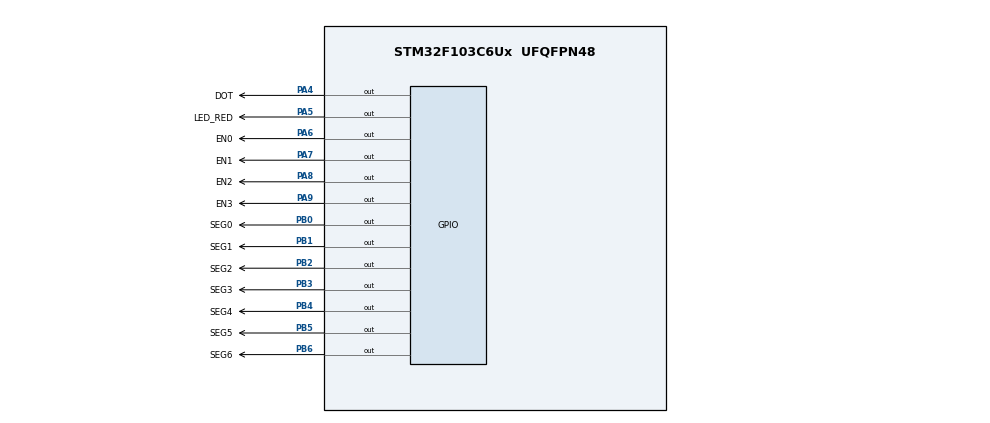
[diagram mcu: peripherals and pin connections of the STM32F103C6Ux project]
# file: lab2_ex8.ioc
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Mcu.Family=STM32F1
Mcu.Name=STM32F103C6Ux
Mcu.Package=UFQFPN48
NVIC.PriorityGroup=NVIC_PRIORITYGROUP_4
NVIC.TIM2_IRQn=true\:0\:0\:false\:false\:true\:true\:true
PA4.GPIO_Label=DOT
PA4.Signal=GPIO_Output
PA5.GPIO_Label=LED_RED
PA5.Signal=GPIO_Output
PA6.GPIO_Label=EN0
PA6.Signal=GPIO_Output
PA7.GPIO_Label=EN1
PA7.Signal=GPIO_Output
PA8.GPIO_Label=EN2
PA8.Signal=GPIO_Output
PA9.GPIO_Label=EN3
PA9.Signal=GPIO_Output
PB0.GPIO_Label=SEG0
PB0.Signal=GPIO_Output
PB1.GPIO_Label=SEG1
PB1.Signal=GPIO_Output
PB2.GPIO_Label=SEG2
PB2.Signal=GPIO_Output
PB3.GPIO_Label=SEG3
PB3.Signal=GPIO_Output
PB4.GPIO_Label=SEG4
PB4.Signal=GPIO_Output
PB5.GPIO_Label=SEG5
PB5.Signal=GPIO_Output
PB6.GPIO_Label=SEG6
PB6.Signal=GPIO_Output
ProjectManager.HeapSize=0x200
ProjectManager.StackSize=0x400
ProjectManager.TargetToolchain=STM32CubeIDE
RCC.APB1Freq_Value=8000000
RCC.APB2Freq_Value=8000000
TIM2.Period=9
TIM2.Prescaler=7999
VP_SYS_VS_ND.Mode=No_Debug
VP_TIM2_VS_ClockSourceINT.Mode=Internal
board=custom

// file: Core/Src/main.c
/* USER CODE BEGIN Header */
/**
  ******************************************************************************
  * @file           : main.c
  * @brief          : Main program body
  ******************************************************************************
  * @attention
  *
  * <h2><center>&copy; Copyright (c) 2023 STMicroelectronics.
  * All rights reserved.</center></h2>
  *
  * This software component is licensed by ST under BSD 3-Clause license,
  * the "License"; You may not use this file except in compliance with the
  * License. You may obtain a copy of the License at:
  *                        opensource.org/licenses/BSD-3-Clause
  *
  ******************************************************************************
  */
/* USER CODE END Header */
#include "main.h"

TIM_HandleTypeDef htim2;

void SystemClock_Config(void);
static void MX_GPIO_Init(void);
static void MX_TIM2_Init(void);

/* USER CODE BEGIN 0 */
// display led 7 segment
void display7SEG(int num){
	  HAL_GPIO_WritePin(SEG0_GPIO_Port, SEG0_Pin, RESET);
	  HAL_GPIO_WritePin(SEG1_GPIO_Port, SEG1_Pin, RESET);
	  HAL_GPIO_WritePin(SEG2_GPIO_Port, SEG2_Pin, RESET);
	  HAL_GPIO_WritePin(SEG3_GPIO_Port, SEG3_Pin, RESET);
	  HAL_GPIO_WritePin(SEG4_GPIO_Port, SEG4_Pin, RESET);
	  HAL_GPIO_WritePin(SEG5_GPIO_Port, SEG5_Pin, RESET);
	  HAL_GPIO_WritePin(SEG6_GPIO_Port, SEG6_Pin, RESET);
	  switch(num){
		  case 0:
			  HAL_GPIO_WritePin(SEG6_GPIO_Port, SEG6_Pin, SET);
			  break;
		  case 1:
			  HAL_GPIO_WritePin(SEG0_GPIO_Port, SEG0_Pin, SET);
			  HAL_GPIO_WritePin(SEG3_GPIO_Port, SEG3_Pin, SET);
			  HAL_GPIO_WritePin(SEG4_GPIO_Port, SEG4_Pin, SET);
			  HAL_GPIO_WritePin(SEG5_GPIO_Port, SEG5_Pin, SET);
			  HAL_GPIO_WritePin(SEG6_GPIO_Port, SEG6_Pin, SET);
			  break;
		  case 2:
			  HAL_GPIO_WritePin(SEG2_GPIO_Port, SEG2_Pin, SET);
			  HAL_GPIO_WritePin(SEG5_GPIO_Port, SEG5_Pin, SET);
			  break;
		  case 3:
			  HAL_GPIO_WritePin(SEG4_GPIO_Port, SEG4_Pin, SET);
			  HAL_GPIO_WritePin(SEG5_GPIO_Port, SEG5_Pin, SET);
			  break;
		  case 4:
			  HAL_GPIO_WritePin(SEG0_GPIO_Port, SEG0_Pin, SET);
			  HAL_GPIO_WritePin(SEG3_GPIO_Port, SEG3_Pin, SET);
			  HAL_GPIO_WritePin(SEG4_GPIO_Port, SEG4_Pin, SET);
			  break;
		  case 5:
			  HAL_GPIO_WritePin(SEG1_GPIO_Port, SEG1_Pin, SET);
			  HAL_GPIO_WritePin(SEG4_GPIO_Port, SEG4_Pin, SET);
			  break;
		  case 6:
			  HAL_GPIO_WritePin(SEG1_GPIO_Port, SEG1_Pin, SET);
			  break;
		  case 7:
			  HAL_GPIO_WritePin(SEG3_GPIO_Port, SEG3_Pin, SET);
			  HAL_GPIO_WritePin(SEG4_GPIO_Port, SEG4_Pin, SET);
			  HAL_GPIO_WritePin(SEG5_GPIO_Port, SEG5_Pin, SET);
			  HAL_GPIO_WritePin(SEG6_GPIO_Port, SEG6_Pin, SET);
			  break;
		  case 8:
			  break;
		  case 9:
			  HAL_GPIO_WritePin(SEG4_GPIO_Port, SEG4_Pin, SET);
			  break;
		  default:
			  break;
	  }
  }

const int MAX_LED = 4;
int index_led = 0;
int led_buffer[4] = {1 , 5 , 0 , 8};
int hour, minute, second;

void update7SEG (int index){
	HAL_GPIO_WritePin(EN0_GPIO_Port, EN0_Pin, 1);
	HAL_GPIO_WritePin(EN1_GPIO_Port, EN1_Pin, 1);
	HAL_GPIO_WritePin(EN2_GPIO_Port, EN2_Pin, 1);
	HAL_GPIO_WritePin(EN3_GPIO_Port, EN3_Pin, 1);
	switch (index){
		case 0:
			// Display the first 7 SEG with SEG1uffer [0]
			HAL_GPIO_WritePin(EN0_GPIO_Port, EN0_Pin, 0);
			display7SEG(led_buffer[0]);
			break ;
		case 1:
			// Display the second 7 SEG with SEG1uffer [1]
			HAL_GPIO_WritePin(EN1_GPIO_Port, EN1_Pin, 0);
			display7SEG(led_buffer[1]);
			break ;
		case 2:
			// Display the third 7 SEG with SEG1uffer [2]
			HAL_GPIO_WritePin(EN2_GPIO_Port, EN2_Pin, 0);
			display7SEG(led_buffer[2]);
			break ;
		case 3:
			// Display the forth 7 SEG with SEG1uffer [3]
			HAL_GPIO_WritePin(EN3_GPIO_Port, EN3_Pin, 0);
			display7SEG(led_buffer[3]);
			break ;
		default :
			break ;
	}
}

void updateClockBuffer(){
	if(hour < 10){
		led_buffer[0] = 0;
		led_buffer[1] = hour;
	}
	if(hour >= 10){
		led_buffer[0] = hour/10;
		led_buffer[1] = hour%10;
	}
	if(minute < 10){
		led_buffer[2] = 0;
		led_buffer[3] = minute;
	}
	if(minute >= 10){
		led_buffer[2] = minute/10;
		led_buffer[3] = minute%10;
	}
}

//software timer
// timer for LED_RED and DOT
int timer0_counter = 0;
int timer0_flag = 0;

//timer for update values for hour, minute and second
int timer1_counter = 0;
int timer1_flag = 0;

// timer for led 7 segment
int timer2_counter = 0;
int timer2_flag = 0;

int TIMER_CYCLE = 10;

//set timer for LED_RED and DOT
void setTimer0(int duration){
	timer0_counter = duration /TIMER_CYCLE;
	timer0_flag = 0;
}

//set timer for update values for hour, minute and second
void setTimer1(int duration){
	timer1_counter = duration /TIMER_CYCLE;
	timer1_flag = 0;
}

//set timer for led 7 segment
void setTimer2(int duration){
	timer2_counter = duration /TIMER_CYCLE;
	timer2_flag = 0;
}

void timer_run(){
	//counter for LED_RED and DOT
	if(timer0_counter > 0){
		timer0_counter--;
		if(timer0_counter == 0) timer0_flag = 1;
	}

	//counter for update values hour, minute, second
	if(timer1_counter > 0){
		timer1_counter--;
		if(timer1_counter == 0) timer1_flag = 1;
	}
	//counter for led 7 segment
	if(timer2_counter > 0){
		timer2_counter--;
		if(timer2_counter == 0) timer2_flag = 1;
	}
}
/* USER CODE END 0 */

int main(void)
{

  /* MCU Configuration--------------------------------------------------------*/

  /* Reset of all peripherals, Initializes the Flash interface and the Systick. */
  HAL_Init();

  /* Configure the system clock */
  SystemClock_Config();

  /* Initialize all configured peripherals */
  MX_GPIO_Init();
  MX_TIM2_Init();
  /* USER CODE BEGIN 2 */
  HAL_TIM_Base_Start_IT(&htim2);
  /* USER CODE END 2 */

  /* Infinite loop */
  /* USER CODE BEGIN WHILE */
  hour = 15;
  minute = 8;
  second = 50;
  setTimer0(1000);
  setTimer1(1000);
  setTimer2(250);
  while (1)
  {
	  //control LED_RED and DOT
	  if(timer0_flag == 1){
	      HAL_GPIO_TogglePin(LED_RED_GPIO_Port, LED_RED_Pin);
	      HAL_GPIO_TogglePin(DOT_GPIO_Port, DOT_Pin);
	      setTimer0(1000);
	  }
	  //control led 7 segment
	  if(timer2_flag == 1){
		  if(index_led >= MAX_LED){
			  index_led = 0;
		  }
		  update7SEG(index_led++);
		  setTimer2(250);
	  }
	  //control update values for hour, minute and second
	  if(timer1_flag == 1){
		  second++;
		  if(second >= 60){
			  second = 0;
			  minute++;
		  }
		  if(minute >= 60){
			  minute = 0;
			  hour++;
		  }
		  if(hour >= 24){
			  hour = 0;
		  }
		  updateClockBuffer();
		  setTimer1(1000);
	  }
    /* USER CODE END WHILE */

  }
}

void SystemClock_Config(void)
{
  RCC_OscInitTypeDef RCC_OscInitStruct = {0};
  RCC_ClkInitTypeDef RCC_ClkInitStruct = {0};

  /** Initializes the RCC Oscillators according to the specified parameters
  * in the RCC_OscInitTypeDef structure.
  */
  RCC_OscInitStruct.OscillatorType = RCC_OSCILLATORTYPE_HSI;
  RCC_OscInitStruct.HSIState = RCC_HSI_ON;
  RCC_OscInitStruct.HSICalibrationValue = RCC_HSICALIBRATION_DEFAULT;
  RCC_OscInitStruct.PLL.PLLState = RCC_PLL_NONE;
  if (HAL_RCC_OscConfig(&RCC_OscInitStruct) != HAL_OK)
  {
    Error_Handler();
  }
  /** Initializes the CPU, AHB and APB buses clocks
  */
  RCC_ClkInitStruct.ClockType = RCC_CLOCKTYPE_HCLK|RCC_CLOCKTYPE_SYSCLK
                              |RCC_CLOCKTYPE_PCLK1|RCC_CLOCKTYPE_PCLK2;
  RCC_ClkInitStruct.SYSCLKSource = RCC_SYSCLKSOURCE_HSI;
  RCC_ClkInitStruct.AHBCLKDivider = RCC_SYSCLK_DIV1;
  RCC_ClkInitStruct.APB1CLKDivider = RCC_HCLK_DIV1;
  RCC_ClkInitStruct.APB2CLKDivider = RCC_HCLK_DIV1;

  if (HAL_RCC_ClockConfig(&RCC_ClkInitStruct, FLASH_LATENCY_0) != HAL_OK)
  {
    Error_Handler();
  }
}

static void MX_TIM2_Init(void)
{

  TIM_ClockConfigTypeDef sClockSourceConfig = {0};
  TIM_MasterConfigTypeDef sMasterConfig = {0};

  htim2.Instance = TIM2;
  htim2.Init.Prescaler = 7999;
  htim2.Init.CounterMode = TIM_COUNTERMODE_UP;
  htim2.Init.Period = 9;
  htim2.Init.ClockDivision = TIM_CLOCKDIVISION_DIV1;
  htim2.Init.AutoReloadPreload = TIM_AUTORELOAD_PRELOAD_DISABLE;
  if (HAL_TIM_Base_Init(&htim2) != HAL_OK)
  {
    Error_Handler();
  }
  sClockSourceConfig.ClockSource = TIM_CLOCKSOURCE_INTERNAL;
  if (HAL_TIM_ConfigClockSource(&htim2, &sClockSourceConfig) != HAL_OK)
  {
    Error_Handler();
  }
  sMasterConfig.MasterOutputTrigger = TIM_TRGO_RESET;
  sMasterConfig.MasterSlaveMode = TIM_MASTERSLAVEMODE_DISABLE;
  if (HAL_TIMEx_MasterConfigSynchronization(&htim2, &sMasterConfig) != HAL_OK)
  {
    Error_Handler();
  }

}

static void MX_GPIO_Init(void)
{
  GPIO_InitTypeDef GPIO_InitStruct = {0};

  /* GPIO Ports Clock Enable */
  __HAL_RCC_GPIOA_CLK_ENABLE();
  __HAL_RCC_GPIOB_CLK_ENABLE();

  /*Configure GPIO pin Output Level */
  HAL_GPIO_WritePin(GPIOA, DOT_Pin|LED_RED_Pin|EN0_Pin|EN1_Pin
                          |EN2_Pin|EN3_Pin, GPIO_PIN_RESET);

  /*Configure GPIO pin Output Level */
  HAL_GPIO_WritePin(GPIOB, SEG0_Pin|SEG1_Pin|SEG2_Pin|SEG3_Pin
                          |SEG4_Pin|SEG5_Pin|SEG6_Pin, GPIO_PIN_RESET);

  /*Configure GPIO pins : DOT_Pin LED_RED_Pin EN0_Pin EN1_Pin
                           EN2_Pin EN3_Pin */
  GPIO_InitStruct.Pin = DOT_Pin|LED_RED_Pin|EN0_Pin|EN1_Pin
                          |EN2_Pin|EN3_Pin;
  GPIO_InitStruct.Mode = GPIO_MODE_OUTPUT_PP;
  GPIO_InitStruct.Pull = GPIO_NOPULL;
  GPIO_InitStruct.Speed = GPIO_SPEED_FREQ_LOW;
  HAL_GPIO_Init(GPIOA, &GPIO_InitStruct);

  /*Configure GPIO pins : SEG0_Pin SEG1_Pin SEG2_Pin SEG3_Pin
                           SEG4_Pin SEG5_Pin SEG6_Pin */
  GPIO_InitStruct.Pin = SEG0_Pin|SEG1_Pin|SEG2_Pin|SEG3_Pin
                          |SEG4_Pin|SEG5_Pin|SEG6_Pin;
  GPIO_InitStruct.Mode = GPIO_MODE_OUTPUT_PP;
  GPIO_InitStruct.Pull = GPIO_NOPULL;
  GPIO_InitStruct.Speed = GPIO_SPEED_FREQ_LOW;
  HAL_GPIO_Init(GPIOB, &GPIO_InitStruct);

}

/* USER CODE BEGIN 4 */

void HAL_TIM_PeriodElapsedCallback(TIM_HandleTypeDef *htim){
	//software timer
	timer_run();
}
/* USER CODE END 4 */

void Error_Handler(void)
{
  __disable_irq();
  while (1)
  {
  }
}

/************************ (C) COPYRIGHT STMicroelectronics *****END OF FILE****/
